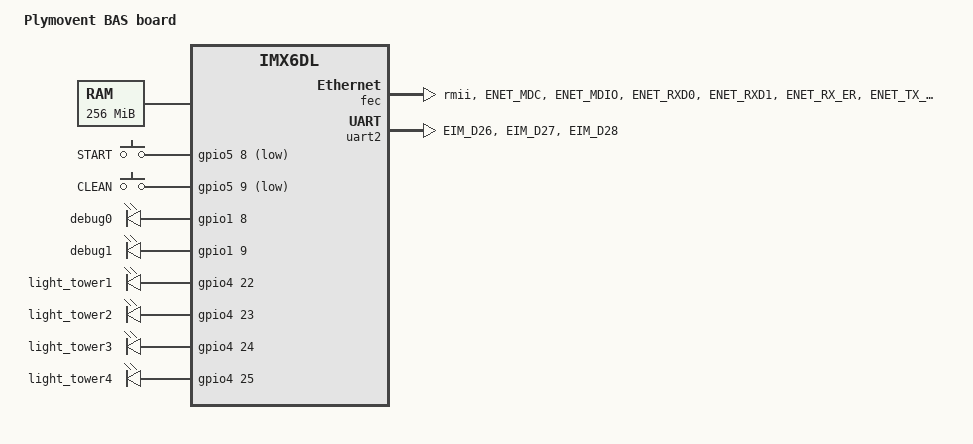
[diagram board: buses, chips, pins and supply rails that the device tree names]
// SPDX-License-Identifier: GPL-2.0-or-later
/*
 * Copyright (c) 2014 Protonic Holland
 */

/dts-v1/;
#include <arm/imx6dl.dtsi>
#include "imx6qdl-vicut1.dtsi"

/ {
	model = "Plymovent BAS board";
	compatible = "ply,plybas", "fsl,imx6dl";

	memory {
		reg = <0x10000000 0x10000000>;
	};

	backlight_lcd {
		status = "disabled";
	};

	gpio_keys {
		compatible = "gpio-keys";
		#address-cells = <1>;
		#size-cells = <0>;
		autorepeat;
		button@20 {
			label = "START";
			linux,code = <31>;
			gpios = <&gpio5 8 1>;
		};
		button@21 {
			label = "CLEAN";
			linux,code = <46>;
			gpios = <&gpio5 9 1>;
		};
	};

	leds: leds {
		compatible = "gpio-leds";
		pinctrl-names = "default";
		pinctrl-0 = <&pinctrl_leds>;

		debug0 {
			label = "debug0";
			gpios = <&gpio1 8 0>;
		};

		debug1 {
			label = "debug1";
			gpios = <&gpio1 9 0>;
		};

		light_tower1 {
			label = "light_tower1";
			gpios = <&gpio4 22 0>;
			linux,default-trigger = "heartbeat";
		};

		light_tower2 {
			label = "light_tower2";
			gpios = <&gpio4 23 0>;
		};

		light_tower3 {
			label = "light_tower3";
			gpios = <&gpio4 24 0>;
		};

		light_tower4 {
			label = "light_tower4";
			gpios = <&gpio4 25 0>;
		};
	};
};

&fec {
	pinctrl-names = "default";
	pinctrl-0 = <&pinctrl_enet>;
	phy-mode = "rmii";
	phy-reset-gpios = <&gpio4 26 GPIO_ACTIVE_LOW>;
	clocks = <&clks IMX6QDL_CLK_ENET>,
		 <&clks IMX6QDL_CLK_ENET>;
	clock-names = "ipg", "ahb";
	status = "okay";
};

&uart2 {
	pinctrl-names = "default";
	pinctrl-0 = <&pinctrl_uart2>;
	fsl,uart-has-rtscts;
	linux,rs485-enabled-at-boot-time;
	rs485-rts-delay = <0 20>;
	status = "okay";
};

&iomuxc {
	pinctrl_hog: hoggrp {
		fsl,pins = <
			/* CAN1_SR + CAN2_SR GPIO outputs */
			MX6QDL_PAD_KEY_COL3__GPIO4_IO12	0x13070
			MX6QDL_PAD_KEY_ROW3__GPIO4_IO13	0x13070

			MX6QDL_PAD_EIM_D23__GPIO3_IO23	0x1b0b0 /* YACO_nIRQ */
			MX6QDL_PAD_EIM_D30__GPIO3_IO30	0x130b0 /* YACO_BOOT0 */
			MX6QDL_PAD_EIM_D31__GPIO3_IO31	0x1b0b0 /* YACO_nRESET */

			MX6QDL_PAD_DISP0_DAT0__GPIO4_IO21	0x13070 /* BUZZER */
			MX6QDL_PAD_DISP0_DAT6__GPIO4_IO27	0x13070 /* ANA_OUT_SD */
			MX6QDL_PAD_DISP0_DAT7__GPIO4_IO28	0x1b0b0 /* ANA_OUT_ERR */

			MX6QDL_PAD_DISP0_DAT11__GPIO5_IO05	0x13070 /* RELAY1 */
			MX6QDL_PAD_DISP0_DAT12__GPIO5_IO06	0x13070 /* RELAY2 */

			MX6QDL_PAD_DISP0_DAT14__GPIO5_IO08	0x1b0b0 /* IN1 */
			MX6QDL_PAD_DISP0_DAT15__GPIO5_IO09	0x1b0b0 /* IN2 */
			MX6QDL_PAD_DISP0_DAT16__GPIO5_IO10	0x1b0b0 /* IN3 */
			MX6QDL_PAD_DISP0_DAT17__GPIO5_IO11	0x1b0b0 /* IN4 */
			MX6QDL_PAD_DISP0_DAT18__GPIO5_IO12	0x1b0b0 /* IN5 */
			MX6QDL_PAD_DISP0_DAT19__GPIO5_IO13	0x1b0b0 /* IN6 */
			MX6QDL_PAD_DISP0_DAT20__GPIO5_IO14	0x1b0b0 /* IN7 */
			MX6QDL_PAD_DISP0_DAT21__GPIO5_IO15	0x1b0b0 /* IN8 */
			MX6QDL_PAD_DISP0_DAT22__GPIO5_IO16	0x1b0b0 /* IN9 */
			MX6QDL_PAD_DISP0_DAT23__GPIO5_IO17	0x1b0b0 /* IN10 */
			MX6QDL_PAD_DI0_PIN4__GPIO4_IO20	0x1b0b0 /* IN11 */
			MX6QDL_PAD_DI0_PIN2__GPIO4_IO18	0x1b0b0 /* IN12 */

			MX6QDL_PAD_DI0_PIN3__GPIO4_IO19	0x1a0b0 /* HMI */

			/* HW revision detect */
			MX6QDL_PAD_SD4_DAT0__GPIO2_IO08 0x1b0b0 /* REV_ID0 */
			MX6QDL_PAD_SD4_DAT1__GPIO2_IO09 0x1b0b0 /* REV_ID1 */
			MX6QDL_PAD_SD4_DAT2__GPIO2_IO10 0x1b0b0 /* REV_ID2 */
			MX6QDL_PAD_SD4_DAT3__GPIO2_IO11 0x1b0b0 /* REV_ID3 */
			MX6QDL_PAD_SD4_DAT4__GPIO2_IO12 0x1b0b0 /* REV_ID4 */
		>;
	};

	pinctrl_leds: ledsgrp {
		fsl,pins = <
			MX6QDL_PAD_GPIO_8__GPIO1_IO08	0x1b0b0 /* DEBUG0 */
			MX6QDL_PAD_GPIO_9__GPIO1_IO09	0x1b0b0 /* DEBUG1 */

			MX6QDL_PAD_DISP0_DAT1__GPIO4_IO22	0x13070 /* LED1 (lighttower) */
			MX6QDL_PAD_DISP0_DAT2__GPIO4_IO23	0x13070 /* LED2 (lighttower) */
			MX6QDL_PAD_DISP0_DAT3__GPIO4_IO24	0x13070 /* LED3 (lighttower) */
			MX6QDL_PAD_DISP0_DAT4__GPIO4_IO25	0x13070 /* LED4 (lighttower) */
		>;
	};

	/* RS485 UART */
	pinctrl_uart2: uart2grp {
		fsl,pins = <
			MX6QDL_PAD_EIM_D26__UART2_TX_DATA	0x1b0b1
			MX6QDL_PAD_EIM_D27__UART2_RX_DATA	0x1b0b1
			MX6QDL_PAD_EIM_D28__UART2_DTE_CTS_B	0x130b1
		>;
	};

	pinctrl_pwm1: pwm1grp {
		fsl,pins = <
			MX6QDL_PAD_DISP0_DAT8__PWM1_OUT		0x1b0b0
		>;
	};

	pinctrl_enet: enetgrp {
		fsl,pins = <
			/* MX6QDL_ENET_PINGRP4 */
			MX6QDL_PAD_ENET_MDC__ENET_MDC           0x1b0b0
			MX6QDL_PAD_ENET_MDIO__ENET_MDIO         0x1b0b0
			MX6QDL_PAD_ENET_RXD0__ENET_RX_DATA0     0x1b0b0
			MX6QDL_PAD_ENET_RXD1__ENET_RX_DATA1     0x1b0b0
			MX6QDL_PAD_ENET_RX_ER__ENET_RX_ER       0x1b0b0
			MX6QDL_PAD_ENET_TX_EN__ENET_TX_EN       0x1b0b0
			MX6QDL_PAD_ENET_TXD0__ENET_TX_DATA0     0x1b0b0
			MX6QDL_PAD_ENET_TXD1__ENET_TX_DATA1     0x1b0b0
			MX6QDL_PAD_ENET_CRS_DV__ENET_RX_EN      0x1b0b0

			MX6QDL_PAD_GPIO_16__ENET_REF_CLK   0x1b0b0
			/* Phy reset */
			MX6QDL_PAD_DISP0_DAT5__GPIO4_IO26	0x1b0b0
			/* nINTRP */
			MX6QDL_PAD_DISP0_DAT9__GPIO4_IO30	0x1b0b0
		>;
	};
};
